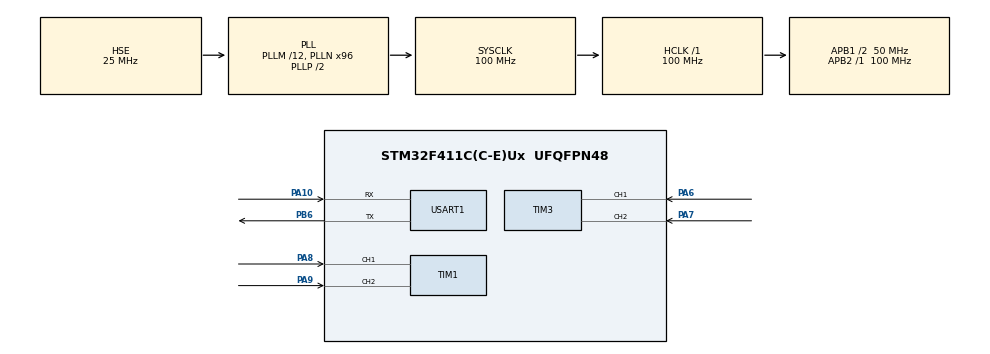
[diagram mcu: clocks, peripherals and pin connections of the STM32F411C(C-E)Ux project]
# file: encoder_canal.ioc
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Mcu.Family=STM32F4
Mcu.Name=STM32F411C(C-E)Ux
Mcu.Package=UFQFPN48
NVIC.PriorityGroup=NVIC_PRIORITYGROUP_4
NVIC.TIM1_CC_IRQn=true\:0\:0\:false\:false\:true\:true\:true\:true
NVIC.TIM3_IRQn=true\:0\:0\:false\:false\:true\:true\:true\:true
PA10.Mode=Asynchronous
PA10.Signal=USART1_RX
PA6.Signal=S_TIM3_CH1
PA7.Signal=S_TIM3_CH2
PA8.Signal=S_TIM1_CH1
PA9.Signal=S_TIM1_CH2
PB6.Mode=Asynchronous
PB6.Signal=USART1_TX
PH0\ -\ OSC_IN.Mode=HSE-External-Oscillator
PH0\ -\ OSC_IN.Signal=RCC_OSC_IN
PH1\ -\ OSC_OUT.Mode=HSE-External-Oscillator
PH1\ -\ OSC_OUT.Signal=RCC_OSC_OUT
ProjectManager.HeapSize=0x200
ProjectManager.StackSize=0x400
ProjectManager.TargetToolchain=STM32CubeIDE
RCC.48MHZClocksFreq_Value=50000000
RCC.AHBFreq_Value=100000000
RCC.APB1CLKDivider=RCC_HCLK_DIV2
RCC.APB1Freq_Value=50000000
RCC.APB1TimFreq_Value=100000000
RCC.APB2Freq_Value=100000000
RCC.APB2TimFreq_Value=100000000
RCC.CortexFreq_Value=100000000
RCC.HCLKFreq_Value=100000000
RCC.HSE_VALUE=25000000
RCC.HSI_VALUE=16000000
RCC.LSE_VALUE=32768
RCC.PLLM=12
RCC.PLLN=96
RCC.PLLSourceVirtual=RCC_PLLSOURCE_HSE
RCC.SYSCLKFreq_VALUE=100000000
RCC.SYSCLKSource=RCC_SYSCLKSOURCE_PLLCLK
RCC.VCOOutputFreq_Value=200000000
SH.S_TIM1_CH1.0=TIM1_CH1,Encoder_Interface
SH.S_TIM1_CH2.0=TIM1_CH2,Encoder_Interface
SH.S_TIM3_CH1.0=TIM3_CH1,Encoder_Interface
SH.S_TIM3_CH2.0=TIM3_CH2,Encoder_Interface
TIM1.EncoderMode=TIM_ENCODERMODE_TI12
TIM3.EncoderMode=TIM_ENCODERMODE_TI12
USART1.VirtualMode=VM_ASYNC
board=custom

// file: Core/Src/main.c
/* USER CODE BEGIN Header */
/**
  ******************************************************************************
  * @file           : main.c
  * @brief          : Main program body
  ******************************************************************************
  * @attention
  *
  * Copyright (c) 2025 STMicroelectronics.
  * All rights reserved.
  *
  * This software is licensed under terms that can be found in the LICENSE file
  * in the root directory of this software component.
  * If no LICENSE file comes with this software, it is provided AS-IS.
  *
  ******************************************************************************
  */
/* USER CODE END Header */
#include "main.h"

/* USER CODE BEGIN Includes */
#include "uart.h"

#include "stdio.h"
#include "stdlib.h"
#include "stdint.h"
#include "string.h"
/* USER CODE END Includes */

TIM_HandleTypeDef htim1;
TIM_HandleTypeDef htim3;

UART_HandleTypeDef huart1;

/* USER CODE BEGIN PV */
#define encoder_res 4

uint32_t encoder_pulsos=0;
int16_t  encoder_pos=0;
int16_t  encoder_vel_act=0,encoder_vel_ant=0;
float encoder_velocidad=0;

uint32_t encoder2_pulsos=0;
int16_t  encoder2_pos=0;
int16_t  encoder2_vel_act=0,encoder2_vel_ant=0;
float encoder2_velocidad=0;

char texto[100];
/* USER CODE END PV */

void SystemClock_Config(void);
static void MX_GPIO_Init(void);
static void MX_TIM3_Init(void);
static void MX_USART1_UART_Init(void);
static void MX_TIM1_Init(void);

/* USER CODE BEGIN 0 */
void HAL_TIM_IC_CaptureCallback(TIM_HandleTypeDef *htim)
{

	//VERIFICA QUE ES DEBIDO AL TIME3
	  if(htim->Instance==TIM3)
	  {
	      encoder_pulsos=__HAL_TIM_GET_COUNTER(&htim3);
	      encoder_pos=(int16_t)encoder_pulsos/encoder_res ;
	      encoder_vel_act=encoder_pos;

	  }

	  if(htim->Instance==TIM1)
	  	  {
	  	      encoder2_pulsos=__HAL_TIM_GET_COUNTER(&htim1);
	  	      encoder2_pos=(int16_t)encoder2_pulsos/encoder_res ;
	  	      encoder2_vel_act=encoder2_pos;

	  	  }

	/* Prevent unused argument(s) compilation warning */
  UNUSED(htim);

  /* NOTE : This function should not be modified, when the callback is needed,
            the HAL_TIM_IC_CaptureCallback could be implemented in the user file
   */
}
/* USER CODE END 0 */

int main(void)
{

  /* MCU Configuration--------------------------------------------------------*/

  /* Reset of all peripherals, Initializes the Flash interface and the Systick. */
  HAL_Init();

  /* Configure the system clock */
  SystemClock_Config();

  /* Initialize all configured peripherals */
  MX_GPIO_Init();
  MX_TIM3_Init();
  MX_USART1_UART_Init();
  MX_TIM1_Init();
  /* USER CODE BEGIN 2 */
   HAL_TIM_Encoder_Start_IT(&htim3, TIM_CHANNEL_ALL);
   HAL_TIM_Encoder_Start_IT(&htim1, TIM_CHANNEL_ALL);

  /* USER CODE END 2 */

  /* Infinite loop */
  /* USER CODE BEGIN WHILE */
  while (1)
  {
	  sprintf(texto,"POS1=%d   VE1=%.1f   POS2=%d   VE2%.1f\r\n\r\n ",encoder_pos,encoder_velocidad,encoder2_pos,encoder2_velocidad);
	  uartx_write_text(&huart1, texto);
	 HAL_Delay(200);
    /* USER CODE END WHILE */

  }
}

void SystemClock_Config(void)
{
  RCC_OscInitTypeDef RCC_OscInitStruct = {0};
  RCC_ClkInitTypeDef RCC_ClkInitStruct = {0};

  /** Configure the main internal regulator output voltage
  */
  __HAL_RCC_PWR_CLK_ENABLE();
  __HAL_PWR_VOLTAGESCALING_CONFIG(PWR_REGULATOR_VOLTAGE_SCALE1);

  /** Initializes the RCC Oscillators according to the specified parameters
  * in the RCC_OscInitTypeDef structure.
  */
  RCC_OscInitStruct.OscillatorType = RCC_OSCILLATORTYPE_HSE;
  RCC_OscInitStruct.HSEState = RCC_HSE_ON;
  RCC_OscInitStruct.PLL.PLLState = RCC_PLL_ON;
  RCC_OscInitStruct.PLL.PLLSource = RCC_PLLSOURCE_HSE;
  RCC_OscInitStruct.PLL.PLLM = 12;
  RCC_OscInitStruct.PLL.PLLN = 96;
  RCC_OscInitStruct.PLL.PLLP = RCC_PLLP_DIV2;
  RCC_OscInitStruct.PLL.PLLQ = 4;
  if (HAL_RCC_OscConfig(&RCC_OscInitStruct) != HAL_OK)
  {
    Error_Handler();
  }

  /** Initializes the CPU, AHB and APB buses clocks
  */
  RCC_ClkInitStruct.ClockType = RCC_CLOCKTYPE_HCLK|RCC_CLOCKTYPE_SYSCLK
                              |RCC_CLOCKTYPE_PCLK1|RCC_CLOCKTYPE_PCLK2;
  RCC_ClkInitStruct.SYSCLKSource = RCC_SYSCLKSOURCE_PLLCLK;
  RCC_ClkInitStruct.AHBCLKDivider = RCC_SYSCLK_DIV1;
  RCC_ClkInitStruct.APB1CLKDivider = RCC_HCLK_DIV2;
  RCC_ClkInitStruct.APB2CLKDivider = RCC_HCLK_DIV1;

  if (HAL_RCC_ClockConfig(&RCC_ClkInitStruct, FLASH_LATENCY_3) != HAL_OK)
  {
    Error_Handler();
  }
}

static void MX_TIM1_Init(void)
{

  TIM_Encoder_InitTypeDef sConfig = {0};
  TIM_MasterConfigTypeDef sMasterConfig = {0};

  htim1.Instance = TIM1;
  htim1.Init.Prescaler = 0;
  htim1.Init.CounterMode = TIM_COUNTERMODE_UP;
  htim1.Init.Period = 65535;
  htim1.Init.ClockDivision = TIM_CLOCKDIVISION_DIV1;
  htim1.Init.RepetitionCounter = 0;
  htim1.Init.AutoReloadPreload = TIM_AUTORELOAD_PRELOAD_DISABLE;
  sConfig.EncoderMode = TIM_ENCODERMODE_TI12;
  sConfig.IC1Polarity = TIM_ICPOLARITY_RISING;
  sConfig.IC1Selection = TIM_ICSELECTION_DIRECTTI;
  sConfig.IC1Prescaler = TIM_ICPSC_DIV1;
  sConfig.IC1Filter = 0;
  sConfig.IC2Polarity = TIM_ICPOLARITY_RISING;
  sConfig.IC2Selection = TIM_ICSELECTION_DIRECTTI;
  sConfig.IC2Prescaler = TIM_ICPSC_DIV1;
  sConfig.IC2Filter = 0;
  if (HAL_TIM_Encoder_Init(&htim1, &sConfig) != HAL_OK)
  {
    Error_Handler();
  }
  sMasterConfig.MasterOutputTrigger = TIM_TRGO_RESET;
  sMasterConfig.MasterSlaveMode = TIM_MASTERSLAVEMODE_DISABLE;
  if (HAL_TIMEx_MasterConfigSynchronization(&htim1, &sMasterConfig) != HAL_OK)
  {
    Error_Handler();
  }

}

static void MX_TIM3_Init(void)
{

  TIM_Encoder_InitTypeDef sConfig = {0};
  TIM_MasterConfigTypeDef sMasterConfig = {0};

  htim3.Instance = TIM3;
  htim3.Init.Prescaler = 0;
  htim3.Init.CounterMode = TIM_COUNTERMODE_UP;
  htim3.Init.Period = 65535;
  htim3.Init.ClockDivision = TIM_CLOCKDIVISION_DIV1;
  htim3.Init.AutoReloadPreload = TIM_AUTORELOAD_PRELOAD_DISABLE;
  sConfig.EncoderMode = TIM_ENCODERMODE_TI12;
  sConfig.IC1Polarity = TIM_ICPOLARITY_RISING;
  sConfig.IC1Selection = TIM_ICSELECTION_DIRECTTI;
  sConfig.IC1Prescaler = TIM_ICPSC_DIV1;
  sConfig.IC1Filter = 0;
  sConfig.IC2Polarity = TIM_ICPOLARITY_RISING;
  sConfig.IC2Selection = TIM_ICSELECTION_DIRECTTI;
  sConfig.IC2Prescaler = TIM_ICPSC_DIV1;
  sConfig.IC2Filter = 0;
  if (HAL_TIM_Encoder_Init(&htim3, &sConfig) != HAL_OK)
  {
    Error_Handler();
  }
  sMasterConfig.MasterOutputTrigger = TIM_TRGO_RESET;
  sMasterConfig.MasterSlaveMode = TIM_MASTERSLAVEMODE_DISABLE;
  if (HAL_TIMEx_MasterConfigSynchronization(&htim3, &sMasterConfig) != HAL_OK)
  {
    Error_Handler();
  }

}

static void MX_USART1_UART_Init(void)
{

  huart1.Instance = USART1;
  huart1.Init.BaudRate = 115200;
  huart1.Init.WordLength = UART_WORDLENGTH_8B;
  huart1.Init.StopBits = UART_STOPBITS_1;
  huart1.Init.Parity = UART_PARITY_NONE;
  huart1.Init.Mode = UART_MODE_TX_RX;
  huart1.Init.HwFlowCtl = UART_HWCONTROL_NONE;
  huart1.Init.OverSampling = UART_OVERSAMPLING_16;
  if (HAL_UART_Init(&huart1) != HAL_OK)
  {
    Error_Handler();
  }

}

static void MX_GPIO_Init(void)
{

  /* GPIO Ports Clock Enable */
  __HAL_RCC_GPIOH_CLK_ENABLE();
  __HAL_RCC_GPIOA_CLK_ENABLE();
  __HAL_RCC_GPIOB_CLK_ENABLE();

}

void Error_Handler(void)
{
  __disable_irq();
  while (1)
  {
  }
}
